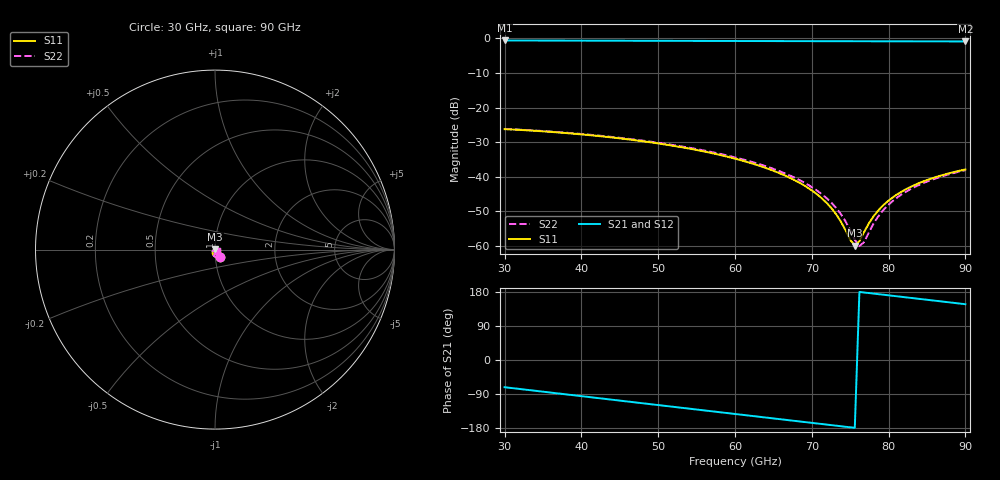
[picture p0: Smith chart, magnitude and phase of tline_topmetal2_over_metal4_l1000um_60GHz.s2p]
#  GHZ S DB R 50
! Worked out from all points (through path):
!   101 points, 30 GHz to 90 GHz, reference 50 ohm
!   highest |S21| = -0.57 dB at 30 GHz (marker M1); lowest = -0.9 dB at 90 GHz (marker M2)
!   group delay of S21, straight-line fit = 6.52 ps
!   lowest |S11| = -60.0 dB at 75.6 GHz (marker M3), VSWR 1.00, Z = 50 + j0.0989 ohm
!   |S11| at or under -10 dB: start of sweep to end of sweep
!   |S22| runs from -60.2 to -26.2 dB; largest |S21 - S12| = 1.1e-14
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30  -26.26 -58.6  -0.57 -71.8  -0.57 -71.8  -26.20 -58.7
35.4  -26.97 -72.5  -0.60 -84.6  -0.60 -84.6  -26.88 -72.6
40.2  -27.83 -84.9  -0.63 -95.9  -0.63 -95.9  -27.71 -85.0
45  -28.94 -97.3  -0.66 -107.2  -0.66 -107.2  -28.78 -97.5
50.4  -30.55 -111.4  -0.68 -119.9  -0.68 -119.9  -30.34 -111.6
60  -34.81 -137.1  -0.73 -142.4  -0.73 -142.4  -34.44 -137.2
66  -39.22 -154.4  -0.76 -156.5  -0.76 -156.5  -38.62 -154.3
68.4  -41.80 -162.4  -0.77 -162.1  -0.77 -162.1  -41.03 -162.0
70.2  -44.34 -169.4  -0.78 -166.4  -0.78 -166.4  -43.34 -168.5
72  -47.79 -178.7  -0.79 -170.6  -0.79 -170.6  -46.41 -176.7
73.2  -51.02 171.5  -0.79 -173.4  -0.79 -173.4  -49.18 175.7
74.4  -55.60 152.2  -0.80 -176.2  -0.80 -176.2  -53.00 163.1
75  -58.34 132.1  -0.80 -177.6  -0.80 -177.6  -55.51 151.8
75.6  -59.99 99.0  -0.80 -179.0  -0.80 -179.0  -58.32 132.2
76.2  -58.74 64.6  -0.80 179.6  -0.80 179.6  -60.17 99.0
76.8  -56.12 43.0  -0.81 178.2  -0.81 178.2  -59.00 63.3
77.4  -53.68 30.5  -0.81 176.8  -0.81 176.8  -56.31 41.0
78.6  -49.96 16.9  -0.81 173.9  -0.81 173.9  -51.72 20.3
80.4  -46.26 5.8  -0.82 169.7  -0.82 169.7  -47.33 6.7
82.2  -43.74 -1.9  -0.83 165.5  -0.83 165.5  -44.47 -1.7
84.6  -41.34 -10.2  -0.84 159.9  -0.84 159.9  -41.82 -10.4
90  -37.95 -26.4  -0.86 147.2  -0.86 147.2  -38.15 -26.7
